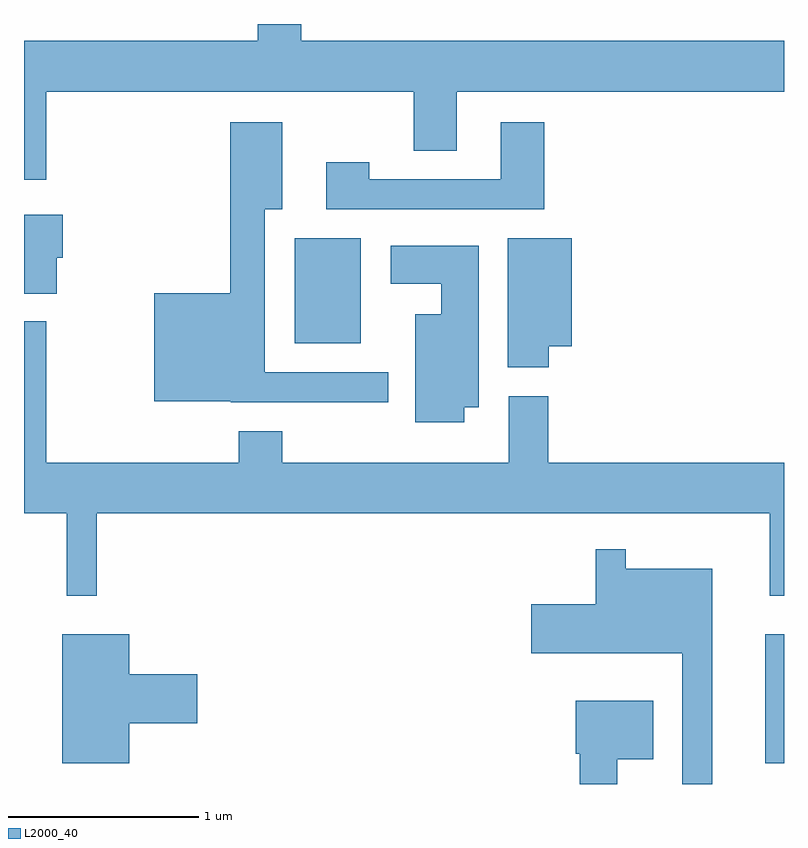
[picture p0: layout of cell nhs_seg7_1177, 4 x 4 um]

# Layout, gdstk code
import gdstk
lib = gdstk.Library(unit=1e-6, precision=1e-09)
def R(c, l, rs):  # rectangles x0, y0, x1, y1
    for r in rs: c.add(gdstk.rectangle(r[:2], r[2:], *l))
def P(c, l, *ps):  # polygons
    for p in ps: c.add(gdstk.Polygon(p, *l))
L2000_40 = (2000, 40)

nhs_seg7_1177 = lib.new_cell('nhs_seg7_1177')
R(nhs_seg7_1177, L2000_40, [(225.511,1686.361,225.611,1687.039), (223.036,1688.571,223.384,1689.124)])
P(nhs_seg7_1177, L2000_40, [(221.729,1689.896),(223.661,1689.896),(223.661,1689.586),(223.889,1689.586),(223.889,1689.896),(225.611,1689.896),(225.611,1690.164),(223.069,1690.164),(223.069,1690.252),(222.841,1690.252),(222.841,1690.164),(221.611,1690.164),(221.611,1689.433),(221.729,1689.433)],
  [(223.528,1688.419),(222.879,1688.419),(222.879,1689.276),(222.969,1689.276),(222.969,1689.734),(222.696,1689.734),(222.696,1688.834),(222.296,1688.834),(222.296,1688.266),(222.7,1688.266),(222.7,1688.261),(223.528,1688.261)],
  [(224.349,1689.734),(224.121,1689.734),(224.121,1689.434),(223.429,1689.434),(223.429,1689.524),(223.201,1689.524),(223.201,1689.276),(224.349,1689.276)],
  [(221.784,1689.021),(221.814,1689.021),(221.814,1689.249),(221.611,1689.249),(221.611,1688.831),(221.784,1688.831)],
  [(224.374,1688.556),(224.494,1688.556),(224.494,1689.124),(224.156,1689.124),(224.156,1688.446),(224.374,1688.446)],
  [(223.929,1688.236),(224.004,1688.236),(224.004,1689.084),(223.541,1689.084),(223.541,1688.886),(223.806,1688.886),(223.806,1688.724),(223.671,1688.724),(223.671,1688.156),(223.929,1688.156)],
  [(221.994,1687.676),(225.536,1687.676),(225.536,1687.243),(225.611,1687.243),(225.611,1687.944),(224.369,1687.944),(224.369,1688.294),(224.161,1688.294),(224.161,1687.944),(222.969,1687.944),(222.969,1688.109),(222.741,1688.109),(222.741,1687.944),(221.729,1687.944),(221.729,1688.688),(221.611,1688.688),(221.611,1687.676),(221.836,1687.676),(221.836,1687.243),(221.994,1687.243)],
  [(225.234,1687.384),(224.779,1687.384),(224.779,1687.488),(224.621,1687.488),(224.621,1687.199),(224.281,1687.199),(224.281,1686.941),(225.076,1686.941),(225.076,1686.252),(225.234,1686.252)],
  [(222.164,1686.571),(222.524,1686.571),(222.524,1686.829),(222.164,1686.829),(222.164,1687.039),(221.811,1687.039),(221.811,1686.361),(222.164,1686.361)],
  [(224.734,1686.381),(224.924,1686.381),(224.924,1686.689),(224.516,1686.689),(224.516,1686.411),(224.536,1686.411),(224.536,1686.252),(224.734,1686.252)])

lib.write_gds('nhs_seg7_1177.gds')
